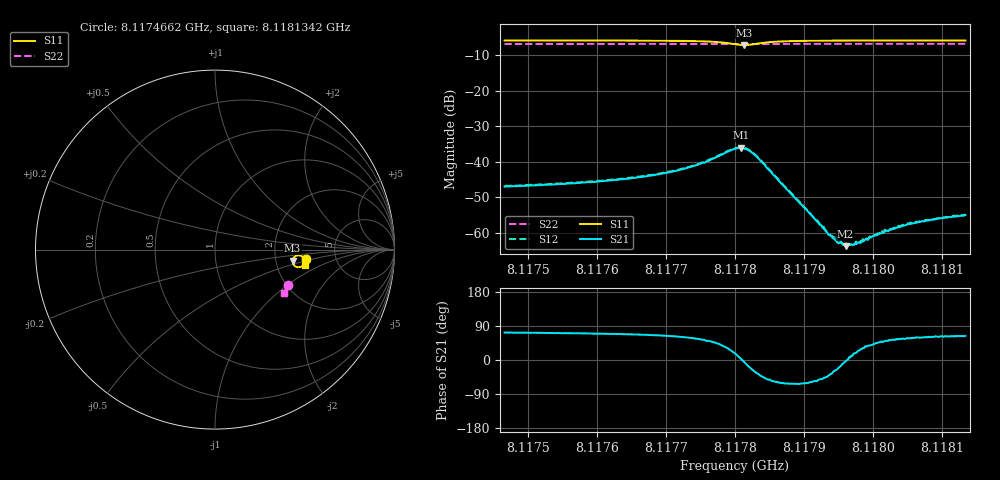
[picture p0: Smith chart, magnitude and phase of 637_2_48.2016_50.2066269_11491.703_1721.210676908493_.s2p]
#  HZ  S  RI  R  50.00
! Rohde & Schwarz Vector Network Analyzer
! Rohde-Schwarz,ZNB20-2Port,1311601062101988,3.16
! Created: UTC 3/20/2024, 12:04:39 PM
! freq[Hz]  re:S11  im:S11  re:S21  im:S21  re:S12  im:S12  re:S22  im:S22
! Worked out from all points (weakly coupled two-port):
!   401 points, 8.1174662 GHz to 8.1181342 GHz, reference 50 ohm
!   highest |S21| = -36.06 dB at 8.1178085 GHz (marker M1); lowest = -63.7 dB at 8.1179605 GHz (marker M2)
!   lowest |S11| = -7.2 dB at 8.1178136 GHz (marker M3), VSWR 2.55, Z = 124 - j18.8 ohm
!   |S11| at or under -10 dB: nowhere
!   |S22| runs from -6.9 to -6.8 dB; largest |S21 - S12| = 0.00055
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8.11746624e9  0.5043 -0.0516  0.00136 0.00428  0.00142 0.00441  0.4065 -0.1991
8.11757812e9  0.5023 -0.0626  0.00174 0.00482  0.00177 0.00491  0.4031 -0.2064
8.11764324e9  0.5002 -0.0705  0.00217 0.00534  0.00226 0.00547  0.4011 -0.2106
8.11768999e9  0.497 -0.0777  0.00285 0.00607  0.00297 0.00618  0.3996 -0.2137
8.11774677e9  0.4869 -0.0906  0.00516 0.00755  0.00534 0.00771  0.3972 -0.2174
8.1178002e9  0.4406 -0.0872  0.0145 0.00446  0.0149 0.00463  0.3937 -0.2199
8.11780855e9  0.433 -0.0722  0.0157 0.000926  0.0161 0.00104  0.3933 -0.2197
8.11781356e9  0.4324 -0.0612  0.0153 -0.00145  0.0157 -0.00146  0.3932 -0.2195
8.11782191e9  0.4394 -0.0443  0.0132 -0.00483  0.0137 -0.00491  0.3936 -0.2193
8.1178336e9  0.4577 -0.0327  0.00912 -0.0067  0.00934 -0.00703  0.3942 -0.2196
8.11786365e9  0.488 -0.0403  0.00277 -0.00466  0.00293 -0.00481  0.3945 -0.2222
8.11791207e9  0.4985 -0.0575  0.000925 -0.00148  0.000937 -0.00146  0.3933 -0.2259
8.11794213e9  0.4998 -0.0643  0.000717 -0.000447  0.000764 -0.000453  0.3921 -0.228
8.11795215e9  0.5001 -0.066  0.00069 -0.000226  0.000748 -0.000246  0.3918 -0.2287
8.1179605e9  0.5002 -0.0676  0.000652 -3.98e-05  0.00072 -5.78e-05  0.3916 -0.2293
8.11797052e9  0.5003 -0.0692  0.000661 0.000138  0.000696 0.00012  0.3914 -0.2298
8.11798388e9  0.5003 -0.0712  0.000662 0.000363  0.000657 0.000395  0.3909 -0.2308
8.11800892e9  0.5003 -0.0746  0.000668 0.000705  0.000708 0.000713  0.39 -0.2323
8.11802395e9  0.5 -0.0765  0.00067 0.000887  0.000706 0.000846  0.3896 -0.2334
8.11805735e9  0.4998 -0.0802  0.000723 0.00116  0.000726 0.00115  0.3883 -0.2354
8.11809575e9  0.4994 -0.0843  0.000789 0.0014  0.000774 0.00143  0.3869 -0.2379
8.11813416e9  0.4989 -0.088  0.000791 0.0016  0.00084 0.00161  0.3856 -0.2403
